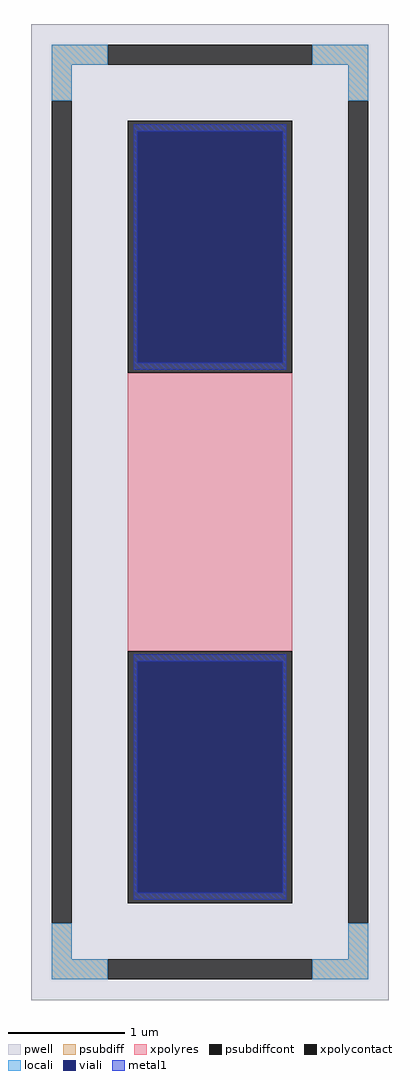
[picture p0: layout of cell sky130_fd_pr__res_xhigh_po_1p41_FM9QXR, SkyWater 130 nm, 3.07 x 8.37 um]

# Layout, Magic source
magic
tech sky130A
magscale 1 2
<< pwell >>
rect -307 -837 307 837
<< psubdiff >>
rect -271 767 -175 801
rect 175 767 271 801
rect -271 705 -237 767
rect 237 705 271 767
rect -271 -767 -237 -705
rect 237 -767 271 -705
rect -271 -801 -175 -767
rect 175 -801 271 -767
<< psubdiffcont >>
rect -175 767 175 801
rect -271 -705 -237 705
rect 237 -705 271 705
rect -175 -801 175 -767
<< xpolycontact >>
rect -141 239 141 671
rect -141 -671 141 -239
<< xpolyres >>
rect -141 -239 141 239
<< locali >>
rect -271 767 -175 801
rect 175 767 271 801
rect -271 705 -237 767
rect 237 705 271 767
rect -271 -767 -237 -705
rect 237 -767 271 -705
rect -271 -801 -175 -767
rect 175 -801 271 -767
<< viali >>
rect -125 256 125 653
rect -125 -653 125 -256
<< metal1 >>
rect -131 653 131 665
rect -131 256 -125 653
rect 125 256 131 653
rect -131 244 131 256
rect -131 -256 131 -244
rect -131 -653 -125 -256
rect 125 -653 131 -256
rect -131 -665 131 -653
<< properties >>
string FIXED_BBOX -254 -784 254 784
string gencell sky130_fd_pr__res_xhigh_po_1p41
string library sky130
string parameters w 1.410 l 2.553 m 1 nx 1 wmin 1.410 lmin 0.50 rho 2000 val 3.888k dummy 0 dw 0.0 term 188.2 sterm 0.0 caplen 0 wmax 1.410 guard 1 glc 1 grc 1 gtc 1 gbc 1 compatible {sky130_fd_pr__res_xhigh_po_0p35  sky130_fd_pr__res_xhigh_po_0p69 sky130_fd_pr__res_xhigh_po_1p41  sky130_fd_pr__res_xhigh_po_2p85 sky130_fd_pr__res_xhigh_po_5p73} snake 0 full_metal 1 n_guard 0 hv_guard 0 vias 1 viagb 0 viagt 0 viagl 0 viagr 0
<< end >>
